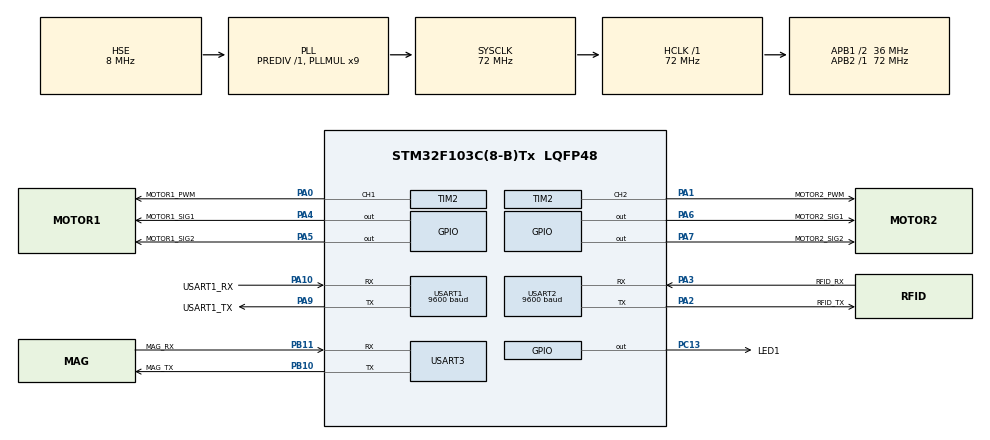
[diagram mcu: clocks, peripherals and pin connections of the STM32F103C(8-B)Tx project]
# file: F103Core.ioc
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Mcu.Family=STM32F1
Mcu.Name=STM32F103C(8-B)Tx
Mcu.Package=LQFP48
NVIC.PriorityGroup=NVIC_PRIORITYGROUP_2
NVIC.USART1_IRQn=true\:2\:0\:true\:true\:true\:1\:true\:true
NVIC.USART2_IRQn=true\:1\:0\:true\:true\:true\:2\:true\:true
NVIC.USART3_IRQn=true\:1\:1\:true\:true\:true\:3\:true\:true
PA0-WKUP.GPIO_Label=MOTOR1_PWM
PA0-WKUP.GPIO_Speed=GPIO_SPEED_FREQ_HIGH
PA0-WKUP.Signal=S_TIM2_CH1_ETR
PA1.GPIO_Label=MOTOR2_PWM
PA1.GPIO_Speed=GPIO_SPEED_FREQ_HIGH
PA1.Signal=S_TIM2_CH2
PA10.GPIO_Label=USART1_RX
PA10.Mode=Asynchronous
PA10.Signal=USART1_RX
PA2.GPIO_Label=RFID_TX
PA2.Mode=Asynchronous
PA2.Signal=USART2_TX
PA3.GPIO_Label=RFID_RX
PA3.Mode=Asynchronous
PA3.Signal=USART2_RX
PA4.GPIO_Label=MOTOR1_SIG1
PA4.GPIO_PuPd=GPIO_PULLDOWN
PA4.PinState=GPIO_PIN_SET
PA4.Signal=GPIO_Output
PA5.GPIO_Label=MOTOR1_SIG2
PA5.GPIO_PuPd=GPIO_PULLDOWN
PA5.PinState=GPIO_PIN_SET
PA5.Signal=GPIO_Output
PA6.GPIO_Label=MOTOR2_SIG1
PA6.GPIO_PuPd=GPIO_PULLDOWN
PA6.PinState=GPIO_PIN_SET
PA6.Signal=GPIO_Output
PA7.GPIO_Label=MOTOR2_SIG2
PA7.GPIO_PuPd=GPIO_PULLDOWN
PA7.Signal=GPIO_Output
PA9.GPIO_Label=USART1_TX
PA9.Mode=Asynchronous
PA9.Signal=USART1_TX
PB10.GPIO_Label=MAG_TX
PB10.Mode=Asynchronous
PB10.Signal=USART3_TX
PB11.GPIO_Label=MAG_RX
PB11.Mode=Asynchronous
PB11.Signal=USART3_RX
PC13-TAMPER-RTC.GPIO_Label=LED1
PC13-TAMPER-RTC.GPIO_Speed=GPIO_SPEED_FREQ_LOW
PC13-TAMPER-RTC.PinState=GPIO_PIN_SET
PC13-TAMPER-RTC.Signal=GPIO_Output
PD0-OSC_IN.Mode=HSE-External-Oscillator
PD0-OSC_IN.Signal=RCC_OSC_IN
PD1-OSC_OUT.Mode=HSE-External-Oscillator
PD1-OSC_OUT.Signal=RCC_OSC_OUT
ProjectManager.HeapSize=0x200
ProjectManager.StackSize=0x400
ProjectManager.TargetToolchain=MDK-ARM V5
RCC.AHBFreq_Value=72000000
RCC.APB1CLKDivider=RCC_HCLK_DIV2
RCC.APB1Freq_Value=36000000
RCC.APB1TimFreq_Value=72000000
RCC.APB2Freq_Value=72000000
RCC.APB2TimFreq_Value=72000000
RCC.HCLKFreq_Value=72000000
RCC.PLLMUL=RCC_PLL_MUL9
RCC.PLLSourceVirtual=RCC_PLLSOURCE_HSE
RCC.SYSCLKFreq_VALUE=72000000
RCC.SYSCLKSource=RCC_SYSCLKSOURCE_PLLCLK
RCC.USBFreq_Value=72000000
SH.S_TIM2_CH1_ETR.0=TIM2_CH1,PWM Generation1 CH1
SH.S_TIM2_CH2.0=TIM2_CH2,PWM Generation2 CH2
TIM1.Period=1000-1
TIM1.Prescaler=720-1
TIM2.AutoReloadPreload=TIM_AUTORELOAD_PRELOAD_ENABLE
TIM2.Channel-PWM\ Generation1\ CH1=TIM_CHANNEL_1
TIM2.Channel-PWM\ Generation2\ CH2=TIM_CHANNEL_2
TIM2.OCMode_PWM-PWM\ Generation2\ CH2=TIM_OCMODE_PWM1
TIM2.Period=1000-1
TIM2.Prescaler=72-1
TIM2.Pulse-PWM\ Generation1\ CH1=500
TIM2.Pulse-PWM\ Generation2\ CH2=500
USART1.BaudRate=9600
USART1.VirtualMode=VM_ASYNC
USART2.BaudRate=9600
USART2.Mode=MODE_RX
USART2.VirtualMode=VM_ASYNC
USART3.VirtualMode=VM_ASYNC
VP_SYS_VS_ND.Mode=No_Debug
VP_TIM1_VS_ClockSourceINT.Mode=Internal
VP_TIM2_VS_ClockSourceINT.Mode=Internal
board=custom

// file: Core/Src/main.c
/* USER CODE BEGIN Header */
/**
  ******************************************************************************
  * @file           : main.c
  * @brief          : Main program body
  ******************************************************************************
  * @attention
  *
  * <h2><center>&copy; Copyright (c) 2021 STMicroelectronics.
  * All rights reserved.</center></h2>
  *
  * This software component is licensed by ST under BSD 3-Clause license,
  * the "License"; You may not use this file except in compliance with the
  * License. You may obtain a copy of the License at:
  *                        opensource.org/licenses/BSD-3-Clause
  *
  ******************************************************************************
  */
/* USER CODE END Header */
#include "main.h"
#include "tim.h"
#include "usart.h"
#include "gpio.h"

/* USER CODE BEGIN PD */
#define USER_MAIN_DEBUG
#define COMMAND_BUFFER_SIZE 256
#define MOTOR_NUM 2
/* USER CODE END PD */

/* USER CODE BEGIN PM */
#ifdef USER_MAIN_DEBUG
#define user_main_printf(format, ...) printf( format "\r\n", ##__VA_ARGS__)
#define user_main_info(format, ...) printf("[\tmain]info:" format "\r\n", ##__VA_ARGS__)
#define user_main_debug(format, ...) printf("[\tmain]debug:" format "\r\n", ##__VA_ARGS__)
#define user_main_error(format, ...) printf("[\tmain]error:" format "\r\n", ##__VA_ARGS__)
#else
#define user_main_printf(format, ...)
#define user_main_info(format, ...)
#define user_main_debug(format, ...)
#define user_main_error(format, ...)
#endif
#define abs(x) ((x)>=0?(x):-(x))
#define max(a,b) ((a) > (b) ? (a) : (b))
#define min(a,b) ((a) < (b) ? (a) : (b))
/* USER CODE END PM */

/* USER CODE BEGIN PV */
// usart buffer
uint8_t cRxBuffer1[1];      // usart1 receive buffer
uint8_t cRxBuffer2[16];      // usart2 receive buffer
uint8_t cRxBuffer3[16];      // usart2 receive buffer
// command buffer
uint8_t cmdBuffer[COMMAND_BUFFER_SIZE];
uint8_t cmdPtr = 0;
uint8_t cmdCompleted = 0;
// motor variables
int16_t pulse_motor[MOTOR_NUM] = {0};
uint32_t channel_motor[MOTOR_NUM] = {TIM_CHANNEL_1, TIM_CHANNEL_2};
GPIO_TypeDef* motor_sig_port[MOTOR_NUM][2] = {{MOTOR1_SIG1_GPIO_Port, MOTOR1_SIG2_GPIO_Port},
																							{MOTOR2_SIG1_GPIO_Port, MOTOR2_SIG2_GPIO_Port}};
uint16_t motor_sig_pin[MOTOR_NUM][2] = {{MOTOR1_SIG1_Pin, MOTOR1_SIG2_Pin},
																				{MOTOR2_SIG1_Pin, MOTOR2_SIG2_Pin}};
// site
uint8_t target_site = 0;

/* USER CODE END PV */

void SystemClock_Config(void);
static void MX_NVIC_Init(void);

/* USER CODE BEGIN 0 */
int fputc(int ch, FILE *f){
	uint8_t temp[1] = {ch};
	HAL_UART_Transmit(&huart1, temp, 1, 2); // modify huart1 in need
	return ch;
}
/* USER CODE END 0 */

int main(void)
{

  /* MCU Configuration--------------------------------------------------------*/

  /* Reset of all peripherals, Initializes the Flash interface and the Systick. */
  HAL_Init();

  /* Configure the system clock */
  SystemClock_Config();

  /* Initialize all configured peripherals */
  MX_GPIO_Init();
  MX_TIM1_Init();
  MX_USART1_UART_Init();
  MX_TIM2_Init();
  MX_USART2_UART_Init();
  MX_USART3_UART_Init();

  /* Initialize interrupts */
  MX_NVIC_Init();
  /* USER CODE BEGIN 2 */
	user_main_printf("Welcome to STM32F103!");
	HAL_TIM_PWM_Start(&htim2, TIM_CHANNEL_1); // enable PWM1 channel
	HAL_TIM_PWM_Start(&htim2, TIM_CHANNEL_2); // enable PWM2 channel
	HAL_UART_Receive_IT(&huart1, cRxBuffer1, 1); //enable usart1 reveive
	HAL_UART_Receive_IT(&huart2, cRxBuffer2, 16); //enable usart2 reveive
/* USER CODE END 2 */

  /* Infinite loop */
  while (1)
  {

    /* USER CODE BEGIN 3 */
		HAL_Delay(400);
		HAL_GPIO_TogglePin(LED1_GPIO_Port, LED1_Pin);
		HAL_Delay(100);
  }
  /* USER CODE END 3 */
}

void SystemClock_Config(void)
{
  RCC_OscInitTypeDef RCC_OscInitStruct = {0};
  RCC_ClkInitTypeDef RCC_ClkInitStruct = {0};

  /** Initializes the RCC Oscillators according to the specified parameters
  * in the RCC_OscInitTypeDef structure.
  */
  RCC_OscInitStruct.OscillatorType = RCC_OSCILLATORTYPE_HSE;
  RCC_OscInitStruct.HSEState = RCC_HSE_ON;
  RCC_OscInitStruct.HSEPredivValue = RCC_HSE_PREDIV_DIV1;
  RCC_OscInitStruct.HSIState = RCC_HSI_ON;
  RCC_OscInitStruct.PLL.PLLState = RCC_PLL_ON;
  RCC_OscInitStruct.PLL.PLLSource = RCC_PLLSOURCE_HSE;
  RCC_OscInitStruct.PLL.PLLMUL = RCC_PLL_MUL9;
  if (HAL_RCC_OscConfig(&RCC_OscInitStruct) != HAL_OK)
  {
    Error_Handler();
  }
  /** Initializes the CPU, AHB and APB buses clocks
  */
  RCC_ClkInitStruct.ClockType = RCC_CLOCKTYPE_HCLK|RCC_CLOCKTYPE_SYSCLK
                              |RCC_CLOCKTYPE_PCLK1|RCC_CLOCKTYPE_PCLK2;
  RCC_ClkInitStruct.SYSCLKSource = RCC_SYSCLKSOURCE_PLLCLK;
  RCC_ClkInitStruct.AHBCLKDivider = RCC_SYSCLK_DIV1;
  RCC_ClkInitStruct.APB1CLKDivider = RCC_HCLK_DIV2;
  RCC_ClkInitStruct.APB2CLKDivider = RCC_HCLK_DIV1;

  if (HAL_RCC_ClockConfig(&RCC_ClkInitStruct, FLASH_LATENCY_2) != HAL_OK)
  {
    Error_Handler();
  }
}

/**
  * @brief NVIC Configuration.
  * @retval None
  */
static void MX_NVIC_Init(void)
{
  /* USART1_IRQn interrupt configuration */
  HAL_NVIC_SetPriority(USART1_IRQn, 2, 0);
  HAL_NVIC_EnableIRQ(USART1_IRQn);
  /* USART2_IRQn interrupt configuration */
  HAL_NVIC_SetPriority(USART2_IRQn, 1, 0);
  HAL_NVIC_EnableIRQ(USART2_IRQn);
  /* USART3_IRQn interrupt configuration */
  HAL_NVIC_SetPriority(USART3_IRQn, 1, 1);
  HAL_NVIC_EnableIRQ(USART3_IRQn);
}

/* USER CODE BEGIN 4 */
// motor
void LogicSwitch(uint8_t motor_id, int8_t logic){
	switch(logic){
		case 1:{ // xuan kong
			HAL_GPIO_WritePin(motor_sig_port[motor_id][0], motor_sig_pin[motor_id][0], GPIO_PIN_SET);
			HAL_GPIO_WritePin(motor_sig_port[motor_id][1], motor_sig_pin[motor_id][1], GPIO_PIN_SET);
			break;
		}
		case 2:{ // zheng zhuan
			HAL_GPIO_WritePin(motor_sig_port[motor_id][0], motor_sig_pin[motor_id][0], GPIO_PIN_SET);
			HAL_GPIO_WritePin(motor_sig_port[motor_id][1], motor_sig_pin[motor_id][1], GPIO_PIN_RESET);
			break;
		}
		case 3:{ // fan zhuan
			HAL_GPIO_WritePin(motor_sig_port[motor_id][0], motor_sig_pin[motor_id][0], GPIO_PIN_RESET);
			HAL_GPIO_WritePin(motor_sig_port[motor_id][1], motor_sig_pin[motor_id][1], GPIO_PIN_SET);
			break;
		}
		default:{ // sha che
			HAL_GPIO_WritePin(motor_sig_port[motor_id][0], motor_sig_pin[motor_id][0], GPIO_PIN_RESET);
			HAL_GPIO_WritePin(motor_sig_port[motor_id][1], motor_sig_pin[motor_id][1], GPIO_PIN_RESET);
		}
	}
}
void ModifyPulse(uint8_t motor_id, int16_t pulse){
	pulse = max(50-1000, min(pulse, 1000-50));
	pulse_motor[motor_id] = pulse;
	LogicSwitch(motor_id, pulse>0?2:3);
	user_main_printf("[\thandleCmd]ModifyPulse: %d!", pulse);
	__HAL_TIM_SET_COMPARE(&htim2, channel_motor[motor_id], abs(pulse)); // modify pulse
}
void SpeedUp(uint8_t motor_id){
	ModifyPulse(motor_id, pulse_motor[motor_id]+50);
}
void SlowDown(uint8_t motor_id){
	ModifyPulse(motor_id, pulse_motor[motor_id]-50);
}
void MotorHang(){
	for(uint8_t i=0; i<MOTOR_NUM; ++i){
		LogicSwitch(i, 1);
	}
}
void MotorOn(){
	for(uint8_t i=0; i<MOTOR_NUM; ++i){
		LogicSwitch(i, 2);
	}
}
void MotorOff(){
	for(uint8_t i=0; i<MOTOR_NUM; ++i){
		LogicSwitch(i, 0);
	}
}

//清空接收缓冲
void clearCmdBuffer(void)
{
  cmdPtr = 0;
  cmdBuffer[cmdPtr] = 0;
}
void handleCmd(void){
	user_main_printf("[\thandleCmd]Handle Cmd: %s!", cmdBuffer);
	char delim[] = " ";
	char *cmdseg = strtok((char*)cmdBuffer, delim);
	if(cmdseg!=NULL){
		char *idstr = strtok(NULL, delim);
		if(idstr!=NULL){
			uint8_t mid = idstr[0] - '1';
			if(strcmp(cmdseg, "on")==0){
				user_main_printf("[\thandleCmd]Handle Cmd: on!");
				LogicSwitch(mid, 1);
			}
			if(strcmp(cmdseg, "off")==0){
				user_main_printf("[\thandleCmd]Handle Cmd: off!");
				LogicSwitch(mid, 0);
			}
			if(strcmp(cmdseg, "up")==0){
				user_main_printf("[\thandleCmd]Handle Cmd: speed up!");
				SpeedUp(mid);
			}
			if(strcmp(cmdseg, "down")==0){
				user_main_printf("[\thandleCmd]Handle Cmd: slow down!");
				SlowDown(mid);
			}
		}else{
			if(strcmp(cmdseg, "stop")==0){
				user_main_printf("[\thandleCmd]Handle Cmd: stop!");
				MotorOff();
			}
			if(strcmp(cmdseg, "start")==0){
				user_main_printf("[\thandleCmd]Handle Cmd: start!");
				MotorOn();
			}
			if(strcmp(cmdseg, "left")==0){
				user_main_printf("[\thandleCmd]Handle Cmd: left!");
				ModifyPulse(0, -200);
				ModifyPulse(1, 200);
			}
			if(strcmp(cmdseg, "right")==0){
				user_main_printf("[\thandleCmd]Handle Cmd: right!");
				ModifyPulse(0, 200);
				ModifyPulse(1, -200);
			}
		}
	}
	clearCmdBuffer();
}
void addCmdBuffer(uint8_t data)
{
	if(data == '\r' ){
		return;
	}
	//如果为回车键，则开始处理串口数据
	if(data == '\n'){
		cmdCompleted = 1;
		handleCmd();
		return;
	}
	// add cmd
	if(cmdPtr < (COMMAND_BUFFER_SIZE - 1)){
		cmdBuffer[cmdPtr] = data;
		cmdBuffer[cmdPtr + 1]=0x00;
		cmdPtr++;
	}
	else{
		cmdBuffer[cmdPtr - 1] = data;
	}

}

void HAL_UART_RxCpltCallback(UART_HandleTypeDef *huart)
{
	if(huart->Instance == USART1){
		uint8_t data = cRxBuffer1[0];
		addCmdBuffer(data);
		HAL_UART_Receive_IT(&huart1, cRxBuffer1, 1);
	}
	if(huart->Instance == USART2){
		uint8_t card_id = cRxBuffer2[15];
		user_main_printf("[\thandleNVIC2]: read card %d!", card_id);
		if(card_id == target_site){
			MotorOff();
		}
		HAL_UART_Receive_IT(&huart2, cRxBuffer2, 16);
	}
}
void HAL_UART_ErrorCallback(UART_HandleTypeDef *huart)
{
	if(huart == &huart2)
	{
		__HAL_UNLOCK(huart);
		HAL_UART_Receive_IT(&huart2, cRxBuffer2, 16);
	}
}

/* USER CODE END 4 */

void Error_Handler(void)
{
  __disable_irq();
  while (1)
  {
  }
}

/************************ (C) COPYRIGHT STMicroelectronics *****END OF FILE****/
